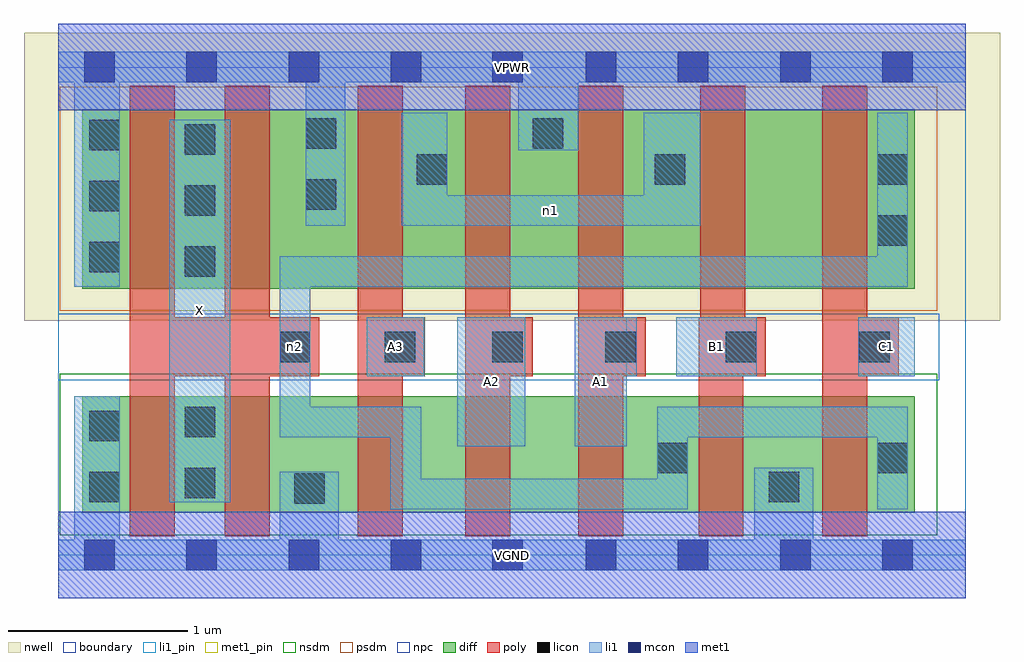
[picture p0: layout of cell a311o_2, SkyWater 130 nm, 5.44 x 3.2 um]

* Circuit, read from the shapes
.subckt a311o_2 A1 A2 A3 B1 C1 VGND VPWR X n1 n2
XM1 X n2 VGND VSUBS sky130_fd_pr__nfet_01v8 w=0.65 l=0.25 m=2
XM2 n3 A3 VGND VSUBS sky130_fd_pr__nfet_01v8 w=0.65 l=0.25
XM3 n4 A2 n3 VSUBS sky130_fd_pr__nfet_01v8 w=0.65 l=0.25
XM4 n2 A1 n4 VSUBS sky130_fd_pr__nfet_01v8 w=0.65 l=0.25
XM5 VGND B1 n2 VSUBS sky130_fd_pr__nfet_01v8 w=0.65 l=0.25
XM6 n2 C1 VGND VSUBS sky130_fd_pr__nfet_01v8 w=0.65 l=0.25
XM7 X n2 VPWR n5 sky130_fd_pr__pfet_01v8 w=1 l=0.25 m=2
XM8 n1 A3 VPWR n5 sky130_fd_pr__pfet_01v8 w=1 l=0.25
XM9 VPWR A2 n1 n5 sky130_fd_pr__pfet_01v8 w=1 l=0.25
XM10 n1 A1 VPWR n5 sky130_fd_pr__pfet_01v8 w=1 l=0.25
XM11 n6 B1 n1 n5 sky130_fd_pr__pfet_01v8 w=1 l=0.25
XM12 n2 C1 n6 n5 sky130_fd_pr__pfet_01v8 w=1 l=0.25
.ends

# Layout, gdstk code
import gdstk
lib = gdstk.Library(unit=1e-6, precision=1e-09)
def R(c, l, rs):  # rectangles x0, y0, x1, y1
    for r in rs: c.add(gdstk.rectangle(r[:2], r[2:], *l))
def A(c, l, x, y, w, h, nx, ny, dx, dy):  # array of equal rectangles
    R(c, l, [(x+i*dx, y+j*dy, x+i*dx+w, y+j*dy+h) for i in range(nx) for j in range(ny)])
nwell = (64, 20)
diff = (65, 20)
poly = (66, 20)
licon = (66, 44)
li1_pin = (67, 16)
li1 = (67, 20)
mcon = (67, 44)
met1_pin = (68, 16)
met1 = (68, 20)
nsdm = (93, 44)
psdm = (94, 20)
npc = (95, 20)
boundary = (235, 4)

a311o_2 = lib.new_cell('a311o_2')
R(a311o_2, nwell, [(-0.19,1.305,5.25,2.91), (0,1.305,5.06,2.91)])
R(a311o_2, diff, [(0.135,0.235,4.775,0.885), (0.135,1.485,4.775,2.485)])
R(a311o_2, poly, [(0.4,0.105,0.65,2.615), (0.93,0.105,1.18,2.615), (1.67,0.105,1.92,2.615), (2.27,0.105,2.52,2.615), (2.9,0.105,3.15,2.615), (3.57,0.105,3.82,1.325), (4.26,0.105,4.51,2.615), (0.4,0.995,1.455,1.325), (1.67,0.995,2.045,1.325), (2.27,0.995,2.645,1.325), (2.9,0.995,3.275,1.325), (3.57,0.995,3.945,1.325), (3.58,0.995,3.83,2.615), (4.26,0.995,4.685,1.325)])
A(a311o_2, licon, 0.705, 1.55, 0.17, 0.17, 1, 3, 0, 0.34)
A(a311o_2, licon, 0.175, 1.575, 0.17, 0.17, 1, 3, 0, 0.34)
R(a311o_2, licon, [(1.315,0.285,1.485,0.455), (0.175,0.295,0.345,0.465), (3.96,0.295,4.13,0.465), (0.705,0.315,0.875,0.485), (3.34,0.455,3.51,0.625), (4.565,0.455,4.735,0.625), (0.175,0.635,0.345,0.805), (0.705,0.655,0.875,0.825), (1.235,1.075,1.405,1.245), (1.82,1.075,1.99,1.245), (2.42,1.075,2.59,1.245), (3.05,1.075,3.22,1.245), (3.72,1.075,3.89,1.245), (4.465,1.075,4.635,1.245), (4.565,1.725,4.735,1.895), (1.38,1.925,1.55,2.095), (2,2.065,2.17,2.235), (3.325,2.065,3.495,2.235), (4.565,2.065,4.735,2.235), (1.38,2.265,1.55,2.435), (2.645,2.265,2.815,2.435)])
R(a311o_2, li1_pin, [(0.62,0.295,0.96,2.425), (2.225,0.605,2.605,1.325), (2.88,0.605,3.17,1.325), (1.72,0.995,2.04,1.325), (3.445,0.995,3.895,1.325), (4.46,0.995,4.775,1.325)])
R(a311o_2, li1, [(0,-0.085,5.06,0.085), (0.09,-0.085,0.345,0.885), (1.235,-0.085,1.565,0.465), (3.88,-0.085,4.21,0.485), (1.85,0.255,3.51,0.425), (1.85,0.255,2.025,0.825), (3.34,0.255,3.51,0.825), (4.565,0.255,4.735,0.825), (0.62,0.295,0.96,2.425), (2.225,0.605,2.605,1.325), (2.88,0.605,3.17,1.325), (1.235,0.655,1.405,1.665), (1.235,0.655,2.025,0.825), (3.34,0.655,4.735,0.825), (1.72,0.995,2.04,1.325), (2.88,0.995,3.225,1.325), (3.445,0.995,3.895,1.325), (4.46,0.995,4.775,1.325), (0.09,1.495,0.345,2.805), (1.235,1.495,4.735,1.665), (4.565,1.495,4.735,2.465), (1.38,1.835,1.6,2.805), (1.915,1.835,3.58,2.005), (1.915,1.835,2.17,2.465), (3.265,1.835,3.58,2.465), (2.565,2.255,2.9,2.805), (0,2.635,5.06,2.805)])
A(a311o_2, mcon, 0.145, -0.085, 0.17, 0.17, 4, 2, 0.57, 2.72)
A(a311o_2, mcon, 3.455, -0.085, 0.17, 0.17, 3, 2, 0.57, 2.72)
R(a311o_2, mcon, [(2.42,-0.085,2.59,0.085), (2.94,-0.085,3.11,0.085), (2.42,2.635,2.59,2.805), (2.94,2.635,3.11,2.805)])
R(a311o_2, met1_pin, [(0,-0.24,5.06,0.24), (0,2.48,5.06,2.96)])
R(a311o_2, met1, [(0,-0.24,5.06,0.24), (0,2.48,5.06,2.96)])
R(a311o_2, nsdm, [(0.01,0.11,4.9,1.01)])
R(a311o_2, psdm, [(0.01,1.36,4.9,2.61)])
R(a311o_2, npc, [(0,0.975,4.91,1.345)])
R(a311o_2, boundary, [(0,0,5.06,2.72)])
a311o_2.add(gdstk.Label('A1', (3.025,0.965), layer=67, texttype=5))
a311o_2.add(gdstk.Label('A2', (2.415,0.965), layer=67, texttype=5))
a311o_2.add(gdstk.Label('A3', (1.88,1.16), layer=67, texttype=5))
a311o_2.add(gdstk.Label('B1', (3.67,1.16), layer=67, texttype=5))
a311o_2.add(gdstk.Label('C1', (4.617,1.16), layer=67, texttype=5))
a311o_2.add(gdstk.Label('X', (0.79,1.36), layer=67, texttype=5))
a311o_2.add(gdstk.Label('n1', (2.747,1.92), layer=67, texttype=5))
a311o_2.add(gdstk.Label('n2', (1.32,1.16), layer=67, texttype=5))
a311o_2.add(gdstk.Label('VPWR', (2.53,2.72), layer=68, texttype=5))
a311o_2.add(gdstk.Label('VGND', (2.53,0), layer=68, texttype=5))
a311o_2.add(gdstk.Label('A1', (3.025,0.965), layer=67, texttype=16))
a311o_2.add(gdstk.Label('A2', (2.415,0.965), layer=67, texttype=16))
a311o_2.add(gdstk.Label('A3', (1.88,1.16), layer=67, texttype=16))
a311o_2.add(gdstk.Label('B1', (3.67,1.16), layer=67, texttype=16))
a311o_2.add(gdstk.Label('C1', (4.617,1.16), layer=67, texttype=16))
a311o_2.add(gdstk.Label('X', (0.79,1.36), layer=67, texttype=16))
a311o_2.add(gdstk.Label('VPWR', (2.53,2.72), layer=68, texttype=16))
a311o_2.add(gdstk.Label('VGND', (2.53,0), layer=68, texttype=16))

lib.write_gds('a311o_2.gds')
